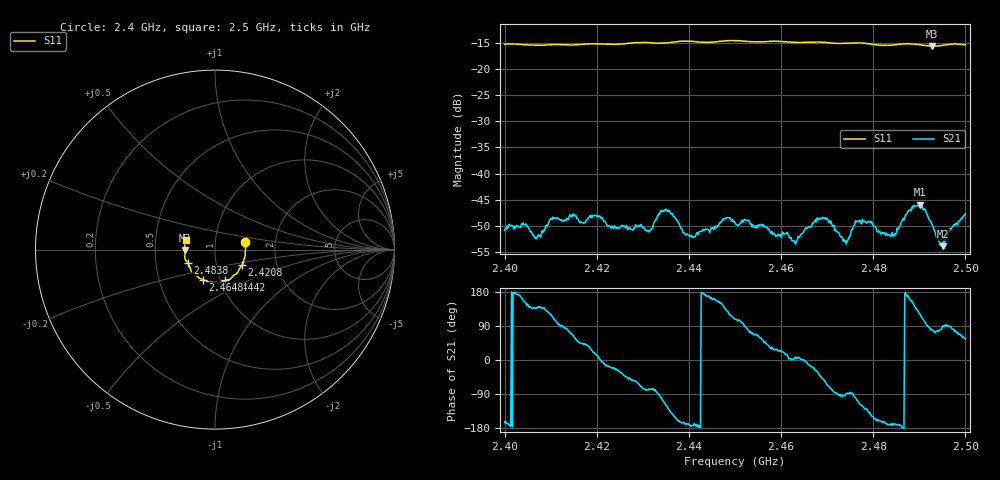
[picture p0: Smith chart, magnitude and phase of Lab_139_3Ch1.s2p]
# Hz S RI R 50
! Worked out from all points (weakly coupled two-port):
!   601 points, 2.4 GHz to 2.5 GHz, reference 50 ohm
!   highest |S21| = -45.95 dB at 2.4902 GHz (marker M1); lowest = -53.9 dB at 2.4952 GHz (marker M2)
!   lowest |S11| = -15.6 dB at 2.4928 GHz (marker M3), VSWR 1.40, Z = 35.8 - j0.355 ohm
!   |S11| at or under -10 dB: start of sweep to end of sweep
!   S12 and S22 are empty: the file has one direction only
!   S11 on the Smith chart (normalised r, x): 2.4 GHz: 1.40, +0.12; 2.4208 GHz: 1.33, -0.24; 2.4442 GHz: 1.05, -0.37; 2.4648 GHz: 0.83, -0.29; 2.4838 GHz: 0.73, -0.11; 2.5 GHz: 0.72, +0.08
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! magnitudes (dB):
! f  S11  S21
! 2.4 GHz  -15.2  -50.9
! 2.407 GHz  -15.4  -52.2
! 2.4167 GHz  -15.3  -49.4
! 2.4208 GHz  -15.2  -48.5
! 2.4312 GHz  -14.9  -51.0
! 2.4333 GHz  -15.0  -48.1
! 2.4353 GHz  -15.0  -47.3
! 2.4405 GHz  -14.7  -51.8
! 2.4442 GHz  -14.9  -50.8
! 2.45 GHz  -14.5  -49.4
! 2.4628 GHz  -14.9  -52.9
! 2.4648 GHz  -14.9  -51.3
! 2.4667 GHz  -14.8  -50.0
! 2.4695 GHz  -14.9  -48.4
! 2.474 GHz  -15.1  -52.8
! 2.4767 GHz  -15.0  -49.2
! 2.4833 GHz  -15.5  -51.8
! 2.4838 GHz  -15.4  -52.1
! 2.4902 GHz  -15.3  -46.0
! 2.4928 GHz  -15.6  -49.9
! 2.4952 GHz  -15.5  -53.9
! 2.5 GHz  -15.3  -47.7
